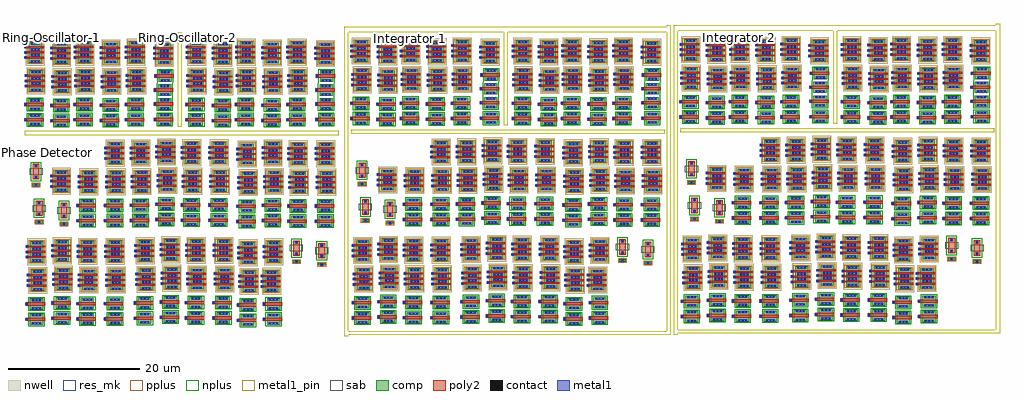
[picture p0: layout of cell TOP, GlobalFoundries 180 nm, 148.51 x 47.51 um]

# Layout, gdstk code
from math import pi, radians
import gdstk
lib = gdstk.Library(unit=1e-6, precision=1e-09)
def R(c, l, rs):  # rectangles x0, y0, x1, y1
    for r in rs: c.add(gdstk.rectangle(r[:2], r[2:], *l))
def A(c, l, x, y, w, h, nx, ny, dx, dy):  # array of equal rectangles
    R(c, l, [(x+i*dx, y+j*dy, x+i*dx+w, y+j*dy+h) for i in range(nx) for j in range(ny)])
nwell = (21, 0)
comp = (22, 0)
poly2 = (30, 0)
pplus = (31, 0)
nplus = (32, 0)
contact = (33, 0)
metal1 = (34, 0)
metal1_pin = (34, 10)
sab = (49, 0)
res_mk = (110, 5)

pfet = lib.new_cell('pfet')
R(pfet, nwell, [(-0.9,-0.44,3.16,2.44)])
R(pfet, comp, [(-0.46,0,0,2), (0,0,2.26,2), (2.26,0,2.72,2)])
A(pfet, poly2, 0.19, -0.3, 0.28, 2.6, 3, 1, 0.8, 0)
A(pfet, poly2, 0.14, 2.3, 0.38, 0.38, 3, 1, 0.8, 0)
R(pfet, pplus, [(-0.63,-0.24,2.89,2.24)])
A(pfet, contact, -0.34, 0.38, 0.22, 0.22, 1, 3, 0, 0.51)
A(pfet, contact, 0.62, 0.38, 0.22, 0.22, 1, 3, 0, 0.51)
A(pfet, contact, 1.42, 0.38, 0.22, 0.22, 1, 3, 0, 0.51)
A(pfet, contact, 2.38, 0.38, 0.22, 0.22, 1, 3, 0, 0.51)
A(pfet, contact, 0.22, 2.38, 0.22, 0.22, 3, 1, 0.8, 0)
A(pfet, metal1, 0.14, 2.299, 0.38, 0.382, 3, 1, 0.8, 0)
R(pfet, metal1, [(-0.42,0.3,-0.04,1.7), (0.54,0.3,0.92,1.7), (1.34,0.3,1.72,1.7), (2.3,0.3,2.68,1.7)])

npolyf_u_resistor_1 = lib.new_cell('npolyf_u_resistor$1')
R(npolyf_u_resistor_1, comp, [(-1.74,0,-1.38,1)])
R(npolyf_u_resistor_1, poly2, [(-0.66,0,1.66,1)])
R(npolyf_u_resistor_1, pplus, [(-1.9,-0.16,-1.22,1.16)])
R(npolyf_u_resistor_1, nplus, [(-0.96,-0.3,1.96,1.3)])
R(npolyf_u_resistor_1, contact, [(-1.67,0.39,-1.45,0.61), (-0.44,0.39,-0.22,0.61), (1.22,0.39,1.44,0.61)])
R(npolyf_u_resistor_1, metal1, [(-1.75,0.309,-1.37,0.691), (-0.52,0.309,-0.14,0.691), (1.14,0.309,1.52,0.691)])
R(npolyf_u_resistor_1, sab, [(0,-0.505,1,1.505)])
R(npolyf_u_resistor_1, res_mk, [(0,0,1,1)])

nfet = lib.new_cell('nfet')
R(nfet, comp, [(-0.42,0,0,2), (0,0,0.88,2), (0.88,0,1.3,2)])
R(nfet, poly2, [(0.19,-0.3,0.69,2.3), (0.19,2.3,0.69,2.66)])
R(nfet, nplus, [(-0.59,-0.24,1.47,2.24)])
A(nfet, contact, -0.32, 0.38, 0.22, 0.22, 1, 3, 0, 0.51)
A(nfet, contact, 0.98, 0.38, 0.22, 0.22, 1, 3, 0, 0.51)
R(nfet, contact, [(0.33,2.37,0.55,2.59)])
R(nfet, metal1, [(-0.4,0.3,-0.02,1.7), (0.9,0.3,1.28,1.7), (0.25,2.289,0.63,2.671)])

top = lib.new_cell('TOP')
R(top, metal1_pin, [(45.865,-34.97,46.5,12.115), (94.91,-34.78,95.545,12.305), (95.97,-34.74,96.605,12.345), (46.5,-34.73,94.91,-34.26), (145.015,-34.55,145.65,12.535), (96.605,-34.5,145.015,-34.03), (-2.72,-4.375,45.02,-3.75), (46.9,-4.185,94.64,-3.56), (97.005,-3.955,144.745,-3.33), (20.525,-3.095,21.165,11.265), (70.145,-2.905,70.785,11.455), (120.25,-2.675,120.89,11.685), (46.5,11.3,94.91,12.115), (96.605,11.53,145.015,12.345)])
top.add(gdstk.Reference(pfet, (7.995,-12.615), rotation=pi/2))
top.add(gdstk.Reference(pfet, (3.85,-12.53), rotation=pi/2))
top.add(gdstk.Reference(pfet, (12.18,-12.615), rotation=pi/2))
top.add(gdstk.Reference(npolyf_u_resistor_1, (-0.515,-10.44), rotation=pi/2))
top.add(gdstk.Reference(pfet, (16.08,-12.595), rotation=pi/2))
top.add(gdstk.Reference(pfet, (23.835,-12.54), rotation=pi/2))
top.add(gdstk.Reference(pfet, (19.985,-12.43), rotation=pi/2))
top.add(gdstk.Reference(pfet, (28.02,-12.54), rotation=pi/2))
top.add(gdstk.Reference(pfet, (32.29,-12.745), rotation=pi/2))
top.add(gdstk.Reference(pfet, (40.045,-12.69), rotation=pi/2))
top.add(gdstk.Reference(pfet, (36.195,-12.58), rotation=pi/2))
top.add(gdstk.Reference(pfet, (44.23,-12.69), rotation=pi/2))
top.add(gdstk.Reference(pfet, (73.455,-12.35), rotation=pi/2))
top.add(gdstk.Reference(pfet, (73.29,-8), rotation=pi/2))
top.add(gdstk.Reference(pfet, (77.64,-12.35), rotation=pi/2))
top.add(gdstk.Reference(pfet, (81.91,-12.555), rotation=pi/2))
top.add(gdstk.Reference(pfet, (89.665,-12.5), rotation=pi/2))
top.add(gdstk.Reference(pfet, (85.815,-12.39), rotation=pi/2))
top.add(gdstk.Reference(pfet, (93.85,-12.5), rotation=pi/2))
top.add(gdstk.Reference(pfet, (57.615,-12.425), rotation=pi/2))
top.add(gdstk.Reference(pfet, (53.47,-12.34), rotation=pi/2))
top.add(gdstk.Reference(pfet, (61.8,-12.425), rotation=pi/2))
top.add(gdstk.Reference(npolyf_u_resistor_1, (49.105,-10.25), rotation=pi/2))
top.add(gdstk.Reference(pfet, (65.7,-12.405), rotation=pi/2))
top.add(gdstk.Reference(pfet, (69.605,-12.24), rotation=pi/2))
top.add(gdstk.Reference(nfet, (73.25,-17.58), rotation=pi/2))
top.add(gdstk.Reference(nfet, (73.25,-15.26), rotation=pi/2))
top.add(gdstk.Reference(nfet, (73.25,-15.26), rotation=pi/2))
top.add(gdstk.Reference(pfet, (123.56,-12.12), rotation=pi/2))
top.add(gdstk.Reference(pfet, (127.745,-12.12), rotation=pi/2))
top.add(gdstk.Reference(pfet, (132.015,-12.325), rotation=pi/2))
top.add(gdstk.Reference(pfet, (139.77,-12.27), rotation=pi/2))
top.add(gdstk.Reference(pfet, (135.92,-12.16), rotation=pi/2))
top.add(gdstk.Reference(pfet, (143.955,-12.27), rotation=pi/2))
top.add(gdstk.Reference(pfet, (107.72,-12.195), rotation=pi/2))
top.add(gdstk.Reference(pfet, (103.575,-12.11), rotation=pi/2))
top.add(gdstk.Reference(pfet, (111.905,-12.195), rotation=pi/2))
top.add(gdstk.Reference(npolyf_u_resistor_1, (99.21,-10.02), rotation=pi/2))
top.add(gdstk.Reference(pfet, (115.805,-12.175), rotation=pi/2))
top.add(gdstk.Reference(pfet, (119.71,-12.01), rotation=pi/2))
top.add(gdstk.Reference(nfet, (73.99,0.005), rotation=pi/2))
top.add(gdstk.Reference(nfet, (73.99,0.005), rotation=pi/2))
top.add(gdstk.Reference(nfet, (77.99,-0.12), rotation=pi/2))
top.add(gdstk.Reference(nfet, (77.99,-0.12), rotation=pi/2))
top.add(gdstk.Reference(nfet, (81.515,0.035), rotation=pi/2))
top.add(gdstk.Reference(nfet, (81.515,0.035), rotation=pi/2))
top.add(gdstk.Reference(nfet, (85.515,-0.09), rotation=pi/2))
top.add(gdstk.Reference(nfet, (128.095,0.11), rotation=pi/2))
top.add(gdstk.Reference(nfet, (128.095,0.11), rotation=pi/2))
top.add(gdstk.Reference(nfet, (135.62,0.14), rotation=pi/2))
top.add(gdstk.Reference(nfet, (135.62,0.14), rotation=pi/2))
top.add(gdstk.Reference(nfet, (85.515,-0.09), rotation=pi/2))
top.add(gdstk.Reference(nfet, (89.325,0.035), rotation=pi/2))
top.add(gdstk.Reference(nfet, (111.06,0.14), rotation=pi/2))
top.add(gdstk.Reference(nfet, (111.06,0.14), rotation=pi/2))
top.add(gdstk.Reference(nfet, (89.325,0.035), rotation=pi/2))
top.add(gdstk.Reference(nfet, (93.725,0.09), rotation=pi/2))
top.add(gdstk.Reference(nfet, (103.535,0.11), rotation=pi/2))
top.add(gdstk.Reference(nfet, (103.535,0.11), rotation=pi/2))
top.add(gdstk.Reference(pfet, (107.215,3.18), rotation=pi/2))
top.add(gdstk.Reference(pfet, (135.775,3.055), rotation=pi/2))
top.add(gdstk.Reference(pfet, (124.135,7.495), rotation=pi/2))
top.add(gdstk.Reference(pfet, (135.66,7.4), rotation=pi/2))
top.add(gdstk.Reference(nfet, (139.43,0.265), rotation=pi/2))
top.add(gdstk.Reference(pfet, (139.585,3.18), rotation=pi/2))
top.add(gdstk.Reference(nfet, (139.43,0.265), rotation=pi/2))
top.add(gdstk.Reference(pfet, (139.47,7.525), rotation=pi/2))
top.add(gdstk.Reference(nfet, (143.83,0.32), rotation=pi/2))
top.add(gdstk.Reference(nfet, (143.83,2.445), rotation=pi/2))
top.add(gdstk.Reference(nfet, (143.905,4.57), rotation=pi/2))
top.add(gdstk.Reference(pfet, (143.745,7.325), rotation=pi/2))
top.add(gdstk.Reference(nfet, (124.095,0.235), rotation=pi/2))
top.add(gdstk.Reference(pfet, (128.25,3.025), rotation=pi/2))
top.add(gdstk.Reference(pfet, (124.25,3.15), rotation=pi/2))
top.add(gdstk.Reference(pfet, (111.215,3.055), rotation=pi/2))
top.add(gdstk.Reference(pfet, (128.135,7.37), rotation=pi/2))
top.add(gdstk.Reference(pfet, (111.1,7.4), rotation=pi/2))
top.add(gdstk.Reference(nfet, (114.87,0.265), rotation=pi/2))
top.add(gdstk.Reference(pfet, (115.025,3.18), rotation=pi/2))
top.add(gdstk.Reference(nfet, (114.87,0.265), rotation=pi/2))
top.add(gdstk.Reference(pfet, (114.91,7.525), rotation=pi/2))
top.add(gdstk.Reference(nfet, (119.27,0.32), rotation=pi/2))
top.add(gdstk.Reference(nfet, (119.27,2.445), rotation=pi/2))
top.add(gdstk.Reference(nfet, (119.345,4.57), rotation=pi/2))
top.add(gdstk.Reference(pfet, (119.185,7.325), rotation=pi/2))
top.add(gdstk.Reference(nfet, (131.62,0.265), rotation=pi/2))
top.add(gdstk.Reference(pfet, (131.775,3.18), rotation=pi/2))
top.add(gdstk.Reference(nfet, (131.62,0.265), rotation=pi/2))
top.add(gdstk.Reference(pfet, (131.66,7.525), rotation=pi/2))
top.add(gdstk.Reference(nfet, (124.095,0.235), rotation=pi/2))
top.add(gdstk.Reference(pfet, (81.555,7.295), rotation=pi/2))
top.add(gdstk.Reference(nfet, (93.8,4.34), rotation=pi/2))
top.add(gdstk.Reference(pfet, (85.67,2.825), rotation=pi/2))
top.add(gdstk.Reference(pfet, (78.145,2.795), rotation=pi/2))
top.add(gdstk.Reference(pfet, (85.555,7.17), rotation=pi/2))
top.add(gdstk.Reference(pfet, (74.145,2.92), rotation=pi/2))
top.add(gdstk.Reference(pfet, (89.48,2.95), rotation=pi/2))
top.add(gdstk.Reference(nfet, (107.06,0.265), rotation=pi/2))
top.add(gdstk.Reference(pfet, (107.1,7.525), rotation=pi/2))
top.add(gdstk.Reference(pfet, (89.365,7.295), rotation=pi/2))
top.add(gdstk.Reference(pfet, (78.03,7.14), rotation=pi/2))
top.add(gdstk.Reference(nfet, (99.535,0.235), rotation=pi/2))
top.add(gdstk.Reference(pfet, (99.69,3.15), rotation=pi/2))
top.add(gdstk.Reference(nfet, (93.725,2.215), rotation=pi/2))
top.add(gdstk.Reference(nfet, (99.535,0.235), rotation=pi/2))
top.add(gdstk.Reference(pfet, (99.575,7.495), rotation=pi/2))
top.add(gdstk.Reference(pfet, (93.64,7.095), rotation=pi/2))
top.add(gdstk.Reference(pfet, (103.69,3.025), rotation=pi/2))
top.add(gdstk.Reference(pfet, (81.67,2.95), rotation=pi/2))
top.add(gdstk.Reference(pfet, (103.575,7.37), rotation=pi/2))
top.add(gdstk.Reference(nfet, (107.06,0.265), rotation=pi/2))
top.add(gdstk.Reference(pfet, (74.03,7.265), rotation=pi/2))
top.add(gdstk.Reference(pfet, (81.745,-8.205), rotation=pi/2))
top.add(gdstk.Reference(pfet, (85.65,-8.04), rotation=pi/2))
top.add(gdstk.Reference(nfet, (73.99,-2.315), rotation=pi/2))
top.add(gdstk.Reference(nfet, (81.515,-2.285), rotation=pi/2))
top.add(gdstk.Reference(nfet, (107.06,-2.055), rotation=pi/2))
top.add(gdstk.Reference(nfet, (99.535,-2.085), rotation=pi/2))
top.add(gdstk.Reference(pfet, (93.685,-8.15), rotation=pi/2))
top.add(gdstk.Reference(pfet, (77.475,-8), rotation=pi/2))
top.add(gdstk.Reference(nfet, (77.99,-2.44), rotation=pi/2))
top.add(gdstk.Reference(pfet, (89.5,-8.15), rotation=pi/2))
top.add(gdstk.Reference(nfet, (103.535,-2.21), rotation=pi/2))
top.add(gdstk.Reference(nfet, (89.325,-2.285), rotation=pi/2))
top.add(gdstk.Reference(nfet, (85.515,-2.41), rotation=pi/2))
top.add(gdstk.Reference(nfet, (93.75,-2.26), rotation=pi/2))
top.add(gdstk.Reference(pfet, (111.74,-7.845), rotation=pi/2))
top.add(gdstk.Reference(nfet, (111.06,-2.18), rotation=pi/2))
top.add(gdstk.Reference(pfet, (115.64,-7.825), rotation=pi/2))
top.add(gdstk.Reference(nfet, (124.095,-2.085), rotation=pi/2))
top.add(gdstk.Reference(pfet, (139.605,-7.92), rotation=pi/2))
top.add(gdstk.Reference(nfet, (135.62,-2.18), rotation=pi/2))
top.add(gdstk.Reference(pfet, (135.755,-7.81), rotation=pi/2))
top.add(gdstk.Reference(pfet, (119.545,-7.66), rotation=pi/2))
top.add(gdstk.Reference(nfet, (114.87,-2.055), rotation=pi/2))
top.add(gdstk.Reference(nfet, (139.43,-2.055), rotation=pi/2))
top.add(gdstk.Reference(nfet, (119.295,-2.03), rotation=pi/2))
top.add(gdstk.Reference(pfet, (143.79,-7.92), rotation=pi/2))
top.add(gdstk.Reference(nfet, (128.095,-2.21), rotation=pi/2))
top.add(gdstk.Reference(pfet, (123.395,-7.77), rotation=pi/2))
top.add(gdstk.Reference(nfet, (143.855,-2.03), rotation=pi/2))
top.add(gdstk.Reference(pfet, (127.58,-7.77), rotation=pi/2))
top.add(gdstk.Reference(pfet, (131.85,-7.975), rotation=pi/2))
top.add(gdstk.Reference(nfet, (131.62,-2.055), rotation=pi/2))
top.add(gdstk.Reference(nfet, (49.43,0.005), rotation=pi/2))
top.add(gdstk.Reference(nfet, (49.43,0.005), rotation=pi/2))
top.add(gdstk.Reference(nfet, (53.43,-0.12), rotation=pi/2))
top.add(gdstk.Reference(nfet, (53.43,-0.12), rotation=pi/2))
top.add(gdstk.Reference(nfet, (56.955,0.035), rotation=pi/2))
top.add(gdstk.Reference(nfet, (-0.19,-0.185), rotation=pi/2))
top.add(gdstk.Reference(nfet, (-0.19,-0.185), rotation=pi/2))
top.add(gdstk.Reference(nfet, (3.81,-0.31), rotation=pi/2))
top.add(gdstk.Reference(nfet, (3.81,-0.31), rotation=pi/2))
top.add(gdstk.Reference(nfet, (7.335,-0.155), rotation=pi/2))
top.add(gdstk.Reference(pfet, (36.03,-8.23), rotation=pi/2))
top.add(gdstk.Reference(nfet, (7.335,-0.155), rotation=pi/2))
top.add(gdstk.Reference(nfet, (11.335,-0.28), rotation=pi/2))
top.add(gdstk.Reference(nfet, (11.335,-0.28), rotation=pi/2))
top.add(gdstk.Reference(nfet, (15.145,-0.155), rotation=pi/2))
top.add(gdstk.Reference(nfet, (15.145,-0.155), rotation=pi/2))
top.add(gdstk.Reference(nfet, (19.545,-0.1), rotation=pi/2))
top.add(gdstk.Reference(nfet, (24.37,-0.185), rotation=pi/2))
top.add(gdstk.Reference(nfet, (24.37,-0.185), rotation=pi/2))
top.add(gdstk.Reference(nfet, (28.37,-0.31), rotation=pi/2))
top.add(gdstk.Reference(nfet, (28.37,-0.31), rotation=pi/2))
top.add(gdstk.Reference(nfet, (31.895,-0.155), rotation=pi/2))
top.add(gdstk.Reference(nfet, (31.895,-0.155), rotation=pi/2))
top.add(gdstk.Reference(nfet, (35.895,-0.28), rotation=pi/2))
top.add(gdstk.Reference(pfet, (36.05,2.635), rotation=pi/2))
top.add(gdstk.Reference(nfet, (35.895,-0.28), rotation=pi/2))
top.add(gdstk.Reference(nfet, (35.895,-2.6), rotation=pi/2))
top.add(gdstk.Reference(pfet, (35.935,6.98), rotation=pi/2))
top.add(gdstk.Reference(nfet, (39.705,-0.155), rotation=pi/2))
top.add(gdstk.Reference(nfet, (39.705,-0.155), rotation=pi/2))
top.add(gdstk.Reference(nfet, (56.955,0.035), rotation=pi/2))
top.add(gdstk.Reference(nfet, (60.955,-0.09), rotation=pi/2))
top.add(gdstk.Reference(nfet, (60.955,-0.09), rotation=pi/2))
top.add(gdstk.Reference(nfet, (64.765,0.035), rotation=pi/2))
top.add(gdstk.Reference(nfet, (64.765,0.035), rotation=pi/2))
top.add(gdstk.Reference(nfet, (69.165,0.09), rotation=pi/2))
top.add(gdstk.Reference(nfet, (44.105,-0.1), rotation=pi/2))
top.add(gdstk.Reference(pfet, (39.86,2.76), rotation=pi/2))
top.add(gdstk.Reference(nfet, (44.18,4.15), rotation=pi/2))
top.add(gdstk.Reference(pfet, (49.47,7.265), rotation=pi/2))
top.add(gdstk.Reference(pfet, (56.995,7.295), rotation=pi/2))
top.add(gdstk.Reference(nfet, (44.105,2.025), rotation=pi/2))
top.add(gdstk.Reference(pfet, (61.11,2.825), rotation=pi/2))
top.add(gdstk.Reference(pfet, (53.585,2.795), rotation=pi/2))
top.add(gdstk.Reference(pfet, (60.995,7.17), rotation=pi/2))
top.add(gdstk.Reference(pfet, (49.585,2.92), rotation=pi/2))
top.add(gdstk.Reference(pfet, (64.92,2.95), rotation=pi/2))
top.add(gdstk.Reference(pfet, (53.47,7.14), rotation=pi/2))
top.add(gdstk.Reference(pfet, (64.805,7.295), rotation=pi/2))
top.add(gdstk.Reference(pfet, (44.02,6.905), rotation=pi/2))
top.add(gdstk.Reference(nfet, (69.165,2.215), rotation=pi/2))
top.add(gdstk.Reference(nfet, (69.24,4.34), rotation=pi/2))
top.add(gdstk.Reference(pfet, (69.08,7.095), rotation=pi/2))
top.add(gdstk.Reference(pfet, (39.745,7.105), rotation=pi/2))
top.add(gdstk.Reference(pfet, (57.11,2.95), rotation=pi/2))
top.add(gdstk.Reference(nfet, (19.62,4.15), rotation=pi/2))
top.add(gdstk.Reference(pfet, (19.46,6.905), rotation=pi/2))
top.add(gdstk.Reference(pfet, (7.375,7.105), rotation=pi/2))
top.add(gdstk.Reference(pfet, (24.525,2.73), rotation=pi/2))
top.add(gdstk.Reference(pfet, (3.85,6.95), rotation=pi/2))
top.add(gdstk.Reference(pfet, (24.41,7.075), rotation=pi/2))
top.add(gdstk.Reference(pfet, (11.49,2.635), rotation=pi/2))
top.add(gdstk.Reference(pfet, (28.525,2.605), rotation=pi/2))
top.add(gdstk.Reference(pfet, (-0.035,2.73), rotation=pi/2))
top.add(gdstk.Reference(pfet, (28.41,6.95), rotation=pi/2))
top.add(gdstk.Reference(pfet, (11.375,6.98), rotation=pi/2))
top.add(gdstk.Reference(pfet, (32.05,2.76), rotation=pi/2))
top.add(gdstk.Reference(pfet, (3.965,2.605), rotation=pi/2))
top.add(gdstk.Reference(pfet, (31.935,7.105), rotation=pi/2))
top.add(gdstk.Reference(pfet, (15.3,2.76), rotation=pi/2))
top.add(gdstk.Reference(pfet, (7.49,2.76), rotation=pi/2))
top.add(gdstk.Reference(pfet, (15.185,7.105), rotation=pi/2))
top.add(gdstk.Reference(pfet, (-0.15,7.075), rotation=pi/2))
top.add(gdstk.Reference(nfet, (19.545,2.025), rotation=pi/2))
top.add(gdstk.Reference(nfet, (19.57,-2.45), rotation=pi/2))
top.add(gdstk.Reference(pfet, (27.855,-8.19), rotation=pi/2))
top.add(gdstk.Reference(pfet, (32.125,-8.395), rotation=pi/2))
top.add(gdstk.Reference(nfet, (3.81,-2.63), rotation=pi/2))
top.add(gdstk.Reference(nfet, (31.895,-2.475), rotation=pi/2))
top.add(gdstk.Reference(nfet, (-0.19,-2.505), rotation=pi/2))
top.add(gdstk.Reference(nfet, (11.335,-2.6), rotation=pi/2))
top.add(gdstk.Reference(pfet, (23.67,-8.19), rotation=pi/2))
top.add(gdstk.Reference(pfet, (15.915,-8.245), rotation=pi/2))
top.add(gdstk.Reference(nfet, (24.37,-2.505), rotation=pi/2))
top.add(gdstk.Reference(pfet, (19.82,-8.08), rotation=pi/2))
top.add(gdstk.Reference(pfet, (12.015,-8.265), rotation=pi/2))
top.add(gdstk.Reference(nfet, (15.145,-2.475), rotation=pi/2))
top.add(gdstk.Reference(nfet, (7.335,-2.475), rotation=pi/2))
top.add(gdstk.Reference(nfet, (28.37,-2.63), rotation=pi/2))
top.add(gdstk.Reference(pfet, (69.44,-7.89), rotation=pi/2))
top.add(gdstk.Reference(nfet, (39.705,-2.475), rotation=pi/2))
top.add(gdstk.Reference(pfet, (44.065,-8.34), rotation=pi/2))
top.add(gdstk.Reference(nfet, (64.765,-2.285), rotation=pi/2))
top.add(gdstk.Reference(nfet, (56.955,-2.285), rotation=pi/2))
top.add(gdstk.Reference(nfet, (69.19,-2.26), rotation=pi/2))
top.add(gdstk.Reference(pfet, (61.635,-8.075), rotation=pi/2))
top.add(gdstk.Reference(nfet, (49.43,-2.315), rotation=pi/2))
top.add(gdstk.Reference(pfet, (39.88,-8.34), rotation=pi/2))
top.add(gdstk.Reference(nfet, (53.43,-2.44), rotation=pi/2))
top.add(gdstk.Reference(nfet, (60.955,-2.41), rotation=pi/2))
top.add(gdstk.Reference(nfet, (44.13,-2.45), rotation=pi/2))
top.add(gdstk.Reference(pfet, (65.535,-8.055), rotation=pi/2))
top.add(gdstk.Reference(pfet, (49.695,-23.08), rotation=pi/2))
top.add(gdstk.Reference(pfet, (57.45,-23.025), rotation=pi/2))
top.add(gdstk.Reference(pfet, (53.6,-22.915), rotation=pi/2))
top.add(gdstk.Reference(pfet, (61.635,-23.025), rotation=pi/2))
top.add(gdstk.Reference(pfet, (66.195,-22.925), rotation=pi/2))
top.add(gdstk.Reference(pfet, (70.1,-22.76), rotation=pi/2))
top.add(gdstk.Reference(npolyf_u_resistor_1, (39.08,-22.095), rotation=pi/2))
top.add(gdstk.Reference(npolyf_u_resistor_1, (42.945,-22.485), rotation=pi/2))
top.add(gdstk.Reference(pfet, (35.81,-27.76), rotation=pi/2))
top.add(gdstk.Reference(pfet, (36.155,-23.265), rotation=pi/2))
top.add(gdstk.Reference(nfet, (36.115,-32.845), rotation=pi/2))
top.add(gdstk.Reference(nfet, (36.115,-30.525), rotation=pi/2))
top.add(gdstk.Reference(nfet, (36.115,-30.525), rotation=pi/2))
top.add(gdstk.Reference(pfet, (32.25,-23.43), rotation=pi/2))
top.add(gdstk.Reference(nfet, (35.99,-17.81), rotation=pi/2))
top.add(gdstk.Reference(nfet, (35.99,-15.49), rotation=pi/2))
top.add(gdstk.Reference(nfet, (35.99,-15.49), rotation=pi/2))
top.add(gdstk.Reference(pfet, (0.075,-23.27), rotation=pi/2))
top.add(gdstk.Reference(pfet, (7.83,-23.215), rotation=pi/2))
top.add(gdstk.Reference(pfet, (3.98,-23.105), rotation=pi/2))
top.add(gdstk.Reference(pfet, (12.015,-23.215), rotation=pi/2))
top.add(gdstk.Reference(pfet, (16.575,-23.115), rotation=pi/2))
top.add(gdstk.Reference(pfet, (24.33,-23.06), rotation=pi/2))
top.add(gdstk.Reference(pfet, (20.48,-22.95), rotation=pi/2))
top.add(gdstk.Reference(pfet, (28.515,-23.06), rotation=pi/2))
top.add(gdstk.Reference(nfet, (61.595,-17.655), rotation=pi/2))
top.add(gdstk.Reference(nfet, (61.595,-15.335), rotation=pi/2))
top.add(gdstk.Reference(nfet, (61.595,-15.335), rotation=pi/2))
top.add(gdstk.Reference(nfet, (39.84,-17.92), rotation=pi/2))
top.add(gdstk.Reference(nfet, (39.84,-15.6), rotation=pi/2))
top.add(gdstk.Reference(nfet, (39.84,-15.6), rotation=pi/2))
top.add(gdstk.Reference(npolyf_u_resistor_1, (53.345,-16.165), rotation=pi/2))
top.add(gdstk.Reference(nfet, (69.4,-17.47), rotation=pi/2))
top.add(gdstk.Reference(nfet, (69.4,-15.15), rotation=pi/2))
top.add(gdstk.Reference(nfet, (44.025,-17.92), rotation=pi/2))
top.add(gdstk.Reference(nfet, (44.025,-15.6), rotation=pi/2))
top.add(gdstk.Reference(nfet, (44.025,-15.6), rotation=pi/2))
top.add(gdstk.Reference(nfet, (69.4,-15.15), rotation=pi/2))
top.add(gdstk.Reference(nfet, (57.41,-15.335), rotation=pi/2))
top.add(gdstk.Reference(npolyf_u_resistor_1, (49.575,-15.835), rotation=pi/2))
top.add(gdstk.Reference(nfet, (65.495,-15.315), rotation=pi/2))
top.add(gdstk.Reference(nfet, (65.495,-15.315), rotation=pi/2))
top.add(gdstk.Reference(nfet, (65.495,-17.635), rotation=pi/2))
top.add(gdstk.Reference(nfet, (57.41,-17.655), rotation=pi/2))
top.add(gdstk.Reference(nfet, (57.41,-15.335), rotation=pi/2))
top.add(gdstk.Reference(nfet, (7.79,-17.845), rotation=pi/2))
top.add(gdstk.Reference(nfet, (7.79,-15.525), rotation=pi/2))
top.add(gdstk.Reference(nfet, (23.63,-17.77), rotation=pi/2))
top.add(gdstk.Reference(nfet, (23.63,-15.45), rotation=pi/2))
top.add(gdstk.Reference(nfet, (23.63,-15.45), rotation=pi/2))
top.add(gdstk.Reference(nfet, (11.975,-17.845), rotation=pi/2))
top.add(gdstk.Reference(nfet, (11.975,-15.525), rotation=pi/2))
top.add(gdstk.Reference(nfet, (7.79,-15.525), rotation=pi/2))
top.add(gdstk.Reference(npolyf_u_resistor_1, (-0.045,-16.025), rotation=pi/2))
top.add(gdstk.Reference(nfet, (19.78,-17.66), rotation=pi/2))
top.add(gdstk.Reference(nfet, (11.975,-15.525), rotation=pi/2))
top.add(gdstk.Reference(npolyf_u_resistor_1, (3.725,-16.355), rotation=pi/2))
top.add(gdstk.Reference(nfet, (19.78,-15.34), rotation=pi/2))
top.add(gdstk.Reference(nfet, (19.78,-15.34), rotation=pi/2))
top.add(gdstk.Reference(nfet, (15.875,-15.505), rotation=pi/2))
top.add(gdstk.Reference(nfet, (15.875,-15.505), rotation=pi/2))
top.add(gdstk.Reference(nfet, (27.815,-17.77), rotation=pi/2))
top.add(gdstk.Reference(nfet, (27.815,-15.45), rotation=pi/2))
top.add(gdstk.Reference(nfet, (27.815,-15.45), rotation=pi/2))
top.add(gdstk.Reference(nfet, (32.085,-15.655), rotation=pi/2))
top.add(gdstk.Reference(nfet, (32.085,-15.655), rotation=pi/2))
top.add(gdstk.Reference(nfet, (32.085,-17.975), rotation=pi/2))
top.add(gdstk.Reference(nfet, (15.875,-17.825), rotation=pi/2))
top.add(gdstk.Reference(nfet, (0.035,-30.53), rotation=pi/2))
top.add(gdstk.Reference(nfet, (0.035,-32.85), rotation=pi/2))
top.add(gdstk.Reference(nfet, (28.475,-30.32), rotation=pi/2))
top.add(gdstk.Reference(pfet, (0.24,-27.62), rotation=pi/2))
top.add(gdstk.Reference(pfet, (7.995,-27.565), rotation=pi/2))
top.add(gdstk.Reference(pfet, (32.415,-27.78), rotation=pi/2))
top.add(gdstk.Reference(nfet, (7.79,-32.795), rotation=pi/2))
top.add(gdstk.Reference(nfet, (7.79,-30.475), rotation=pi/2))
top.add(gdstk.Reference(nfet, (7.79,-30.475), rotation=pi/2))
top.add(gdstk.Reference(pfet, (4.145,-27.455), rotation=pi/2))
top.add(gdstk.Reference(nfet, (32.21,-30.69), rotation=pi/2))
top.add(gdstk.Reference(nfet, (3.94,-32.685), rotation=pi/2))
top.add(gdstk.Reference(nfet, (3.94,-30.365), rotation=pi/2))
top.add(gdstk.Reference(nfet, (3.94,-30.365), rotation=pi/2))
top.add(gdstk.Reference(pfet, (12.18,-27.565), rotation=pi/2))
top.add(gdstk.Reference(nfet, (32.21,-30.69), rotation=pi/2))
top.add(gdstk.Reference(nfet, (11.975,-32.795), rotation=pi/2))
top.add(gdstk.Reference(nfet, (11.975,-30.475), rotation=pi/2))
top.add(gdstk.Reference(nfet, (11.975,-30.475), rotation=pi/2))
top.add(gdstk.Reference(nfet, (16.535,-30.375), rotation=pi/2))
top.add(gdstk.Reference(nfet, (16.535,-30.375), rotation=pi/2))
top.add(gdstk.Reference(nfet, (16.535,-32.695), rotation=pi/2))
top.add(gdstk.Reference(nfet, (28.475,-30.32), rotation=pi/2))
top.add(gdstk.Reference(pfet, (16.74,-27.465), rotation=pi/2))
top.add(gdstk.Reference(pfet, (24.495,-27.41), rotation=pi/2))
top.add(gdstk.Reference(nfet, (28.475,-32.64), rotation=pi/2))
top.add(gdstk.Reference(nfet, (24.29,-32.64), rotation=pi/2))
top.add(gdstk.Reference(nfet, (24.29,-30.32), rotation=pi/2))
top.add(gdstk.Reference(nfet, (24.29,-30.32), rotation=pi/2))
top.add(gdstk.Reference(pfet, (20.645,-27.3), rotation=pi/2))
top.add(gdstk.Reference(nfet, (32.21,-33.01), rotation=pi/2))
top.add(gdstk.Reference(nfet, (20.44,-32.53), rotation=pi/2))
top.add(gdstk.Reference(nfet, (20.44,-30.21), rotation=pi/2))
top.add(gdstk.Reference(nfet, (20.44,-30.21), rotation=pi/2))
top.add(gdstk.Reference(pfet, (28.68,-27.41), rotation=pi/2))
top.add(gdstk.Reference(nfet, (0.035,-30.53), rotation=pi/2))
top.add(gdstk.Reference(nfet, (61.595,-30.285), rotation=pi/2))
top.add(gdstk.Reference(nfet, (61.595,-30.285), rotation=pi/2))
top.add(gdstk.Reference(nfet, (66.155,-30.185), rotation=pi/2))
top.add(gdstk.Reference(nfet, (66.155,-30.185), rotation=pi/2))
top.add(gdstk.Reference(nfet, (66.155,-32.505), rotation=pi/2))
top.add(gdstk.Reference(pfet, (49.86,-27.43), rotation=pi/2))
top.add(gdstk.Reference(pfet, (66.36,-27.275), rotation=pi/2))
top.add(gdstk.Reference(pfet, (70.265,-27.11), rotation=pi/2))
top.add(gdstk.Reference(pfet, (57.615,-27.375), rotation=pi/2))
top.add(gdstk.Reference(nfet, (70.06,-32.34), rotation=pi/2))
top.add(gdstk.Reference(nfet, (70.06,-30.02), rotation=pi/2))
top.add(gdstk.Reference(nfet, (70.06,-30.02), rotation=pi/2))
top.add(gdstk.Reference(nfet, (49.655,-30.34), rotation=pi/2))
top.add(gdstk.Reference(nfet, (57.41,-32.605), rotation=pi/2))
top.add(gdstk.Reference(nfet, (57.41,-30.285), rotation=pi/2))
top.add(gdstk.Reference(nfet, (57.41,-30.285), rotation=pi/2))
top.add(gdstk.Reference(pfet, (53.765,-27.265), rotation=pi/2))
top.add(gdstk.Reference(nfet, (49.655,-32.66), rotation=pi/2))
top.add(gdstk.Reference(nfet, (53.56,-32.495), rotation=pi/2))
top.add(gdstk.Reference(nfet, (53.56,-30.175), rotation=pi/2))
top.add(gdstk.Reference(nfet, (53.56,-30.175), rotation=pi/2))
top.add(gdstk.Reference(pfet, (61.8,-27.375), rotation=pi/2))
top.add(gdstk.Reference(nfet, (49.655,-30.34), rotation=pi/2))
top.add(gdstk.Reference(nfet, (61.595,-32.605), rotation=pi/2))
top.add(gdstk.Reference(pfet, (81.87,-23.24), rotation=pi/2))
top.add(gdstk.Reference(pfet, (73.95,-22.87), rotation=pi/2))
top.add(gdstk.Reference(npolyf_u_resistor_1, (88.7,-21.905), rotation=pi/2))
top.add(gdstk.Reference(npolyf_u_resistor_1, (92.565,-22.295), rotation=pi/2))
top.add(gdstk.Reference(pfet, (78.135,-22.87), rotation=pi/2))
top.add(gdstk.Reference(pfet, (85.775,-23.075), rotation=pi/2))
top.add(gdstk.Reference(nfet, (107.515,-15.105), rotation=pi/2))
top.add(gdstk.Reference(nfet, (107.515,-17.425), rotation=pi/2))
top.add(gdstk.Reference(nfet, (107.515,-15.105), rotation=pi/2))
top.add(gdstk.Reference(pfet, (99.8,-22.85), rotation=pi/2))
top.add(gdstk.Reference(pfet, (107.72,-27.145), rotation=pi/2))
top.add(gdstk.Reference(pfet, (107.555,-22.795), rotation=pi/2))
top.add(gdstk.Reference(nfet, (107.515,-32.375), rotation=pi/2))
top.add(gdstk.Reference(nfet, (107.515,-30.055), rotation=pi/2))
top.add(gdstk.Reference(nfet, (107.515,-30.055), rotation=pi/2))
top.add(gdstk.Reference(pfet, (103.705,-22.685), rotation=pi/2))
top.add(gdstk.Reference(pfet, (111.74,-22.795), rotation=pi/2))
top.add(gdstk.Reference(pfet, (116.3,-22.695), rotation=pi/2))
top.add(gdstk.Reference(pfet, (120.205,-22.53), rotation=pi/2))
top.add(gdstk.Reference(npolyf_u_resistor_1, (138.805,-21.675), rotation=pi/2))
top.add(gdstk.Reference(npolyf_u_resistor_1, (142.67,-22.065), rotation=pi/2))
top.add(gdstk.Reference(pfet, (135.88,-22.845), rotation=pi/2))
top.add(gdstk.Reference(pfet, (131.975,-23.01), rotation=pi/2))
top.add(gdstk.Reference(pfet, (124.055,-22.64), rotation=pi/2))
top.add(gdstk.Reference(pfet, (128.24,-22.64), rotation=pi/2))
top.add(gdstk.Reference(nfet, (111.7,-15.105), rotation=pi/2))
top.add(gdstk.Reference(nfet, (111.7,-15.105), rotation=pi/2))
top.add(gdstk.Reference(nfet, (119.505,-17.24), rotation=pi/2))
top.add(gdstk.Reference(nfet, (115.6,-15.085), rotation=pi/2))
top.add(gdstk.Reference(nfet, (115.6,-15.085), rotation=pi/2))
top.add(gdstk.Reference(nfet, (115.6,-17.405), rotation=pi/2))
top.add(gdstk.Reference(nfet, (127.54,-17.35), rotation=pi/2))
top.add(gdstk.Reference(nfet, (127.54,-15.03), rotation=pi/2))
top.add(gdstk.Reference(nfet, (127.54,-15.03), rotation=pi/2))
top.add(gdstk.Reference(nfet, (131.81,-15.235), rotation=pi/2))
top.add(gdstk.Reference(nfet, (131.81,-15.235), rotation=pi/2))
top.add(gdstk.Reference(nfet, (131.81,-17.555), rotation=pi/2))
top.add(gdstk.Reference(nfet, (119.505,-14.92), rotation=pi/2))
top.add(gdstk.Reference(nfet, (139.565,-17.5), rotation=pi/2))
top.add(gdstk.Reference(nfet, (139.565,-15.18), rotation=pi/2))
top.add(gdstk.Reference(nfet, (139.565,-15.18), rotation=pi/2))
top.add(gdstk.Reference(nfet, (123.355,-17.35), rotation=pi/2))
top.add(gdstk.Reference(nfet, (135.715,-17.39), rotation=pi/2))
top.add(gdstk.Reference(nfet, (135.715,-15.07), rotation=pi/2))
top.add(gdstk.Reference(nfet, (135.715,-15.07), rotation=pi/2))
top.add(gdstk.Reference(nfet, (119.505,-14.92), rotation=pi/2))
top.add(gdstk.Reference(nfet, (123.355,-15.03), rotation=pi/2))
top.add(gdstk.Reference(nfet, (123.355,-15.03), rotation=pi/2))
top.add(gdstk.Reference(nfet, (143.75,-17.5), rotation=pi/2))
top.add(gdstk.Reference(nfet, (143.75,-15.18), rotation=pi/2))
top.add(gdstk.Reference(nfet, (143.75,-15.18), rotation=pi/2))
top.add(gdstk.Reference(nfet, (111.7,-17.425), rotation=pi/2))
top.add(gdstk.Reference(nfet, (77.435,-17.58), rotation=pi/2))
top.add(gdstk.Reference(nfet, (77.435,-15.26), rotation=pi/2))
top.add(gdstk.Reference(nfet, (77.435,-15.26), rotation=pi/2))
top.add(gdstk.Reference(npolyf_u_resistor_1, (103.45,-15.935), rotation=pi/2))
top.add(gdstk.Reference(nfet, (89.46,-15.41), rotation=pi/2))
top.add(gdstk.Reference(nfet, (85.61,-17.62), rotation=pi/2))
top.add(gdstk.Reference(nfet, (85.61,-15.3), rotation=pi/2))
top.add(gdstk.Reference(nfet, (85.61,-15.3), rotation=pi/2))
top.add(gdstk.Reference(npolyf_u_resistor_1, (99.68,-15.605), rotation=pi/2))
top.add(gdstk.Reference(nfet, (81.705,-15.465), rotation=pi/2))
top.add(gdstk.Reference(nfet, (81.705,-17.785), rotation=pi/2))
top.add(gdstk.Reference(nfet, (81.705,-15.465), rotation=pi/2))
top.add(gdstk.Reference(nfet, (93.645,-17.73), rotation=pi/2))
top.add(gdstk.Reference(nfet, (93.645,-15.41), rotation=pi/2))
top.add(gdstk.Reference(nfet, (93.645,-15.41), rotation=pi/2))
top.add(gdstk.Reference(nfet, (89.46,-17.73), rotation=pi/2))
top.add(gdstk.Reference(nfet, (89.46,-15.41), rotation=pi/2))
top.add(gdstk.Reference(nfet, (78.095,-30.13), rotation=pi/2))
top.add(gdstk.Reference(nfet, (73.91,-32.45), rotation=pi/2))
top.add(gdstk.Reference(nfet, (85.735,-32.655), rotation=pi/2))
top.add(gdstk.Reference(nfet, (85.735,-30.335), rotation=pi/2))
top.add(gdstk.Reference(nfet, (85.735,-30.335), rotation=pi/2))
top.add(gdstk.Reference(nfet, (73.91,-30.13), rotation=pi/2))
top.add(gdstk.Reference(nfet, (99.76,-30.11), rotation=pi/2))
top.add(gdstk.Reference(nfet, (99.76,-30.11), rotation=pi/2))
top.add(gdstk.Reference(nfet, (99.76,-32.43), rotation=pi/2))
top.add(gdstk.Reference(nfet, (73.91,-30.13), rotation=pi/2))
top.add(gdstk.Reference(pfet, (99.965,-27.2), rotation=pi/2))
top.add(gdstk.Reference(pfet, (85.43,-27.57), rotation=pi/2))
top.add(gdstk.Reference(nfet, (81.83,-30.5), rotation=pi/2))
top.add(gdstk.Reference(nfet, (81.83,-32.82), rotation=pi/2))
top.add(gdstk.Reference(nfet, (81.83,-30.5), rotation=pi/2))
top.add(gdstk.Reference(pfet, (74.115,-27.22), rotation=pi/2))
top.add(gdstk.Reference(pfet, (103.87,-27.035), rotation=pi/2))
top.add(gdstk.Reference(pfet, (78.3,-27.22), rotation=pi/2))
top.add(gdstk.Reference(nfet, (103.665,-32.265), rotation=pi/2))
top.add(gdstk.Reference(nfet, (103.665,-29.945), rotation=pi/2))
top.add(gdstk.Reference(nfet, (103.665,-29.945), rotation=pi/2))
top.add(gdstk.Reference(pfet, (82.035,-27.59), rotation=pi/2))
top.add(gdstk.Reference(nfet, (78.095,-32.45), rotation=pi/2))
top.add(gdstk.Reference(nfet, (78.095,-30.13), rotation=pi/2))
top.add(gdstk.Reference(nfet, (111.7,-32.375), rotation=pi/2))
top.add(gdstk.Reference(nfet, (131.935,-30.27), rotation=pi/2))
top.add(gdstk.Reference(nfet, (131.935,-30.27), rotation=pi/2))
top.add(gdstk.Reference(nfet, (131.935,-32.59), rotation=pi/2))
top.add(gdstk.Reference(nfet, (120.165,-32.11), rotation=pi/2))
top.add(gdstk.Reference(nfet, (120.165,-29.79), rotation=pi/2))
top.add(gdstk.Reference(nfet, (120.165,-29.79), rotation=pi/2))
top.add(gdstk.Reference(pfet, (135.535,-27.34), rotation=pi/2))
top.add(gdstk.Reference(pfet, (132.14,-27.36), rotation=pi/2))
top.add(gdstk.Reference(nfet, (111.7,-30.055), rotation=pi/2))
top.add(gdstk.Reference(nfet, (111.7,-30.055), rotation=pi/2))
top.add(gdstk.Reference(nfet, (116.26,-29.955), rotation=pi/2))
top.add(gdstk.Reference(nfet, (135.84,-32.425), rotation=pi/2))
top.add(gdstk.Reference(pfet, (124.22,-26.99), rotation=pi/2))
top.add(gdstk.Reference(nfet, (135.84,-30.105), rotation=pi/2))
top.add(gdstk.Reference(nfet, (124.015,-32.22), rotation=pi/2))
top.add(gdstk.Reference(nfet, (124.015,-29.9), rotation=pi/2))
top.add(gdstk.Reference(nfet, (124.015,-29.9), rotation=pi/2))
top.add(gdstk.Reference(nfet, (135.84,-30.105), rotation=pi/2))
top.add(gdstk.Reference(nfet, (116.26,-29.955), rotation=pi/2))
top.add(gdstk.Reference(nfet, (116.26,-32.275), rotation=pi/2))
top.add(gdstk.Reference(pfet, (111.905,-27.145), rotation=pi/2))
top.add(gdstk.Reference(pfet, (116.465,-27.045), rotation=pi/2))
top.add(gdstk.Reference(pfet, (128.405,-26.99), rotation=pi/2))
top.add(gdstk.Reference(pfet, (120.37,-26.88), rotation=pi/2))
top.add(gdstk.Reference(nfet, (128.2,-32.22), rotation=pi/2))
top.add(gdstk.Reference(nfet, (128.2,-29.9), rotation=pi/2))
top.add(gdstk.Reference(nfet, (128.2,-29.9), rotation=pi/2))
top.add(gdstk.Label('Ring-Oscillator-1', (-2.51,10.5), layer=34, texttype=10))
top.add(gdstk.Label('Ring-Oscillator-2', (22.085,10.5), layer=34, texttype=10))
top.add(gdstk.Label('Phase Detector', (-1.56,-7), layer=34, texttype=10))
top.add(gdstk.Label('Integrator 2', (106.07,10.5), layer=34, texttype=10))
top.add(gdstk.Label('Integrator 1', (55.965,10.27), layer=34, texttype=10))

lib.write_gds('TOP.gds')
